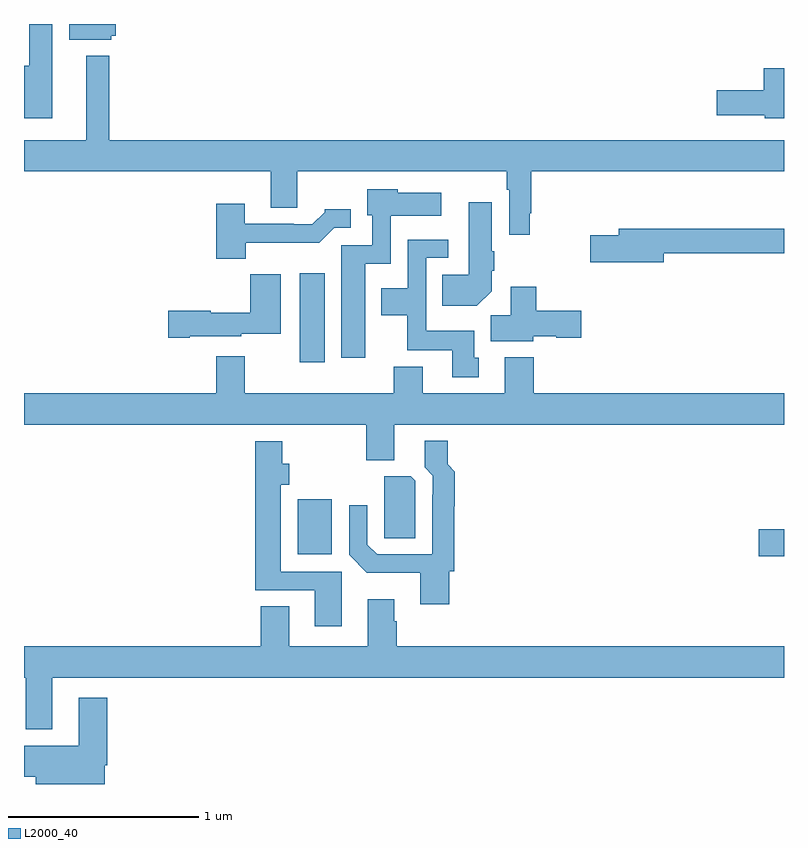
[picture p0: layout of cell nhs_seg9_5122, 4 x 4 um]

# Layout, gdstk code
import gdstk
lib = gdstk.Library(unit=1e-6, precision=1e-09)
def R(c, l, rs):  # rectangles x0, y0, x1, y1
    for r in rs: c.add(gdstk.rectangle(r[:2], r[2:], *l))
def P(c, l, *ps):  # polygons
    for p in ps: c.add(gdstk.Polygon(p, *l))
L2000_40 = (2000, 40)

nhs_seg9_5122 = lib.new_cell('nhs_seg9_5122')
R(nhs_seg9_5122, L2000_40, [(410.868,1223.698,411,1223.84), (408.44,1223.708,408.619,1223.998), (408.452,1224.72,408.583,1225.189)])
P(nhs_seg9_5122, L2000_40, [(407.149,1226.5),(407.028,1226.5),(407.028,1226.279),(407,1226.279),(407,1226.003),(407.149,1226.003)],
  [(407.46,1226.439),(407.482,1226.439),(407.482,1226.5),(407.237,1226.5),(407.237,1226.417),(407.46,1226.417)],
  [(409.663,1225.504),(409.67,1225.504),(409.67,1225.724),(411,1225.724),(411,1225.888),(407.449,1225.888),(407.449,1226.332),(407.327,1226.332),(407.327,1225.888),(407,1225.888),(407,1225.724),(408.299,1225.724),(408.299,1225.534),(408.439,1225.534),(408.439,1225.724),(409.542,1225.724),(409.542,1225.628),(409.554,1225.628),(409.554,1225.392),(409.663,1225.392)],
  [(411,1226.266),(410.894,1226.266),(410.894,1226.151),(410.646,1226.151),(410.646,1226.021),(410.898,1226.021),(410.898,1226.003),(411,1226.003)],
  [(408.796,1225.238),(408.93,1225.238),(408.93,1225.49),(409.195,1225.49),(409.195,1225.612),(408.966,1225.612),(408.966,1225.63),(408.806,1225.63),(408.806,1225.494),(408.834,1225.494),(408.834,1225.335),(408.671,1225.335),(408.671,1224.744),(408.796,1224.744)],
  [(409.462,1225.094),(409.462,1225.201),(409.475,1225.201),(409.475,1225.304),(409.462,1225.304),(409.462,1225.561),(409.34,1225.561),(409.34,1225.18),(409.201,1225.18),(409.201,1225.016),(409.384,1225.016)],
  [(408.166,1225.35),(408.555,1225.35),(408.633,1225.428),(408.721,1225.428),(408.721,1225.525),(408.582,1225.525),(408.582,1225.51),(408.518,1225.446),(408.419,1225.446),(408.419,1225.449),(408.163,1225.449),(408.163,1225.555),(408.011,1225.555),(408.011,1225.265),(408.166,1225.265)],
  [(410.368,1225.294),(411,1225.294),(411,1225.423),(410.129,1225.423),(410.129,1225.389),(409.98,1225.389),(409.98,1225.247),(410.368,1225.247)],
  [(409.393,1224.744),(409.369,1224.744),(409.369,1224.886),(409.116,1224.886),(409.116,1225.269),(409.234,1225.269),(409.234,1225.365),(409.02,1225.365),(409.02,1225.108),(408.881,1225.108),(408.881,1224.968),(409.018,1224.968),(409.018,1224.782),(409.253,1224.782),(409.253,1224.642),(409.393,1224.642)],
  [(407.872,1224.857),(408.144,1224.857),(408.144,1224.869),(408.352,1224.869),(408.352,1225.183),(408.19,1225.183),(408.19,1224.979),(407.982,1224.979),(407.982,1224.992),(407.76,1224.992),(407.76,1224.85),(407.872,1224.85)],
  [(409.68,1224.857),(409.8,1224.857),(409.8,1224.85),(409.933,1224.85),(409.933,1224.992),(409.697,1224.992),(409.697,1225.117),(409.562,1225.117),(409.562,1224.968),(409.457,1224.968),(409.457,1224.83),(409.68,1224.83)],
  [(408.949,1224.392),(411,1224.392),(411,1224.556),(409.682,1224.556),(409.682,1224.745),(409.529,1224.745),(409.529,1224.556),(409.099,1224.556),(409.099,1224.697),(408.947,1224.697),(408.947,1224.556),(408.163,1224.556),(408.163,1224.751),(408.011,1224.751),(408.011,1224.556),(407,1224.556),(407,1224.392),(408.802,1224.392),(408.802,1224.205),(408.949,1224.205)],
  [(409.238,1223.619),(409.265,1223.619),(409.265,1223.962),(409.268,1223.962),(409.268,1224.144),(409.229,1224.183),(409.229,1224.307),(409.109,1224.307),(409.109,1224.166),(409.152,1224.123),(409.152,1224.023),(409.149,1224.023),(409.149,1223.709),(408.858,1223.709),(408.807,1223.76),(408.807,1223.968),(408.711,1223.968),(408.711,1223.706),(408.805,1223.612),(409.085,1223.612),(409.085,1223.445),(409.238,1223.445)],
  [(408.673,1223.616),(408.352,1223.616),(408.352,1224.075),(408.397,1224.075),(408.397,1224.185),(408.36,1224.185),(408.36,1224.304),(408.218,1224.304),(408.218,1223.52),(408.53,1223.52),(408.53,1223.331),(408.673,1223.331)],
  [(409.059,1224.096),(409.035,1224.12),(408.896,1224.12),(408.896,1223.905),(408.897,1223.905),(408.897,1223.794),(409.059,1223.794)],
  [(407.149,1223.06),(411,1223.06),(411,1223.224),(408.962,1223.224),(408.962,1223.357),(408.949,1223.357),(408.949,1223.473),(408.809,1223.473),(408.809,1223.224),(408.397,1223.224),(408.397,1223.435),(408.245,1223.435),(408.245,1223.224),(407,1223.224),(407,1223.06),(407.009,1223.06),(407.009,1222.787),(407.149,1222.787)],
  [(407.425,1222.598),(407.438,1222.598),(407.438,1222.954),(407.288,1222.954),(407.288,1222.702),(407,1222.702),(407,1222.538),(407.063,1222.538),(407.063,1222.5),(407.425,1222.5)])

lib.write_gds('nhs_seg9_5122.gds')
